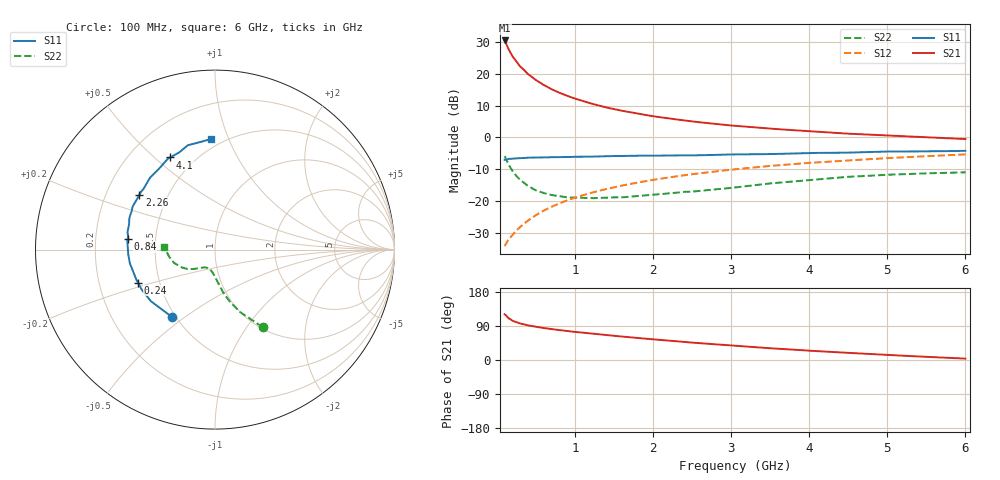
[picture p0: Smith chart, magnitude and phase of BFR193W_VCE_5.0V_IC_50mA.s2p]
! Infineon Technologies  Discrete & RF Semiconductors
! BFR193W
! VCE =  5.0 V,  IC =  50 mA
! Common Emitter S-Parameters:  Nov 2015
# GHz  S  MA  R  50
!  f  S11  S21  S12  S22
! GHz  MAG  ANG  MAG  ANG  MAG  ANG  MAG  ANG
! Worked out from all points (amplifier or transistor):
!   192 points, 100 MHz to 6 GHz, reference 50 ohm
!   highest |S21| = 30.6 dB at 100 MHz (marker M1)
!   |S21| within 3 dB of that: start of sweep to 155.7 MHz
!   unconditionally stable (mu >= 1): 557.4 MHz to 2.59 GHz
!   at 440 MHz: K = 0.97, MSG = 22.4 dB, |S12| = -25.5 dB
!   at 1.7 GHz: K = 1.02, MAG = 10.4 dB, |S12| = -14.7 dB
!   at 6 GHz: K = 0.92, MSG = 2.4 dB, |S12| = -5.3 dB
!   S11 on the Smith chart (normalised r, x): 100 MHz: 0.48, -0.45; 240 MHz: 0.38, -0.18; 840 MHz: 0.34, +0.05; 2.26 GHz: 0.35, +0.29; 4.1 GHz: 0.37, +0.56; 6 GHz: 0.43, +0.86
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0.1  0.4454 -122.7  33.93 120.6  0.0193 60.9  0.5078 -58.4
0.15  0.4586 -141.1  24.66 110.2  0.0245 62.0  0.3743 -68.2
0.2  0.4651 -151.4  19.18 103.7  0.0288 64.4  0.298 -74.3
0.24  0.4677 -156.9  16.33 100.5  0.033 65.7  0.2564 -77.9
0.26  0.469 -159.2  15.13 98.9  0.035 66.4  0.2398 -79.5
0.3  0.4704 -163.3  13.18 96.2  0.0388 67.8  0.2143 -81.7
0.4  0.4804 -170.7  9.988 91.3  0.0489 70.4  0.1708 -86.8
0.5  0.4836 -175.7  8.051 87.6  0.0594 71.5  0.1467 -90.7
0.6  0.4853 -179.7  6.743 84.4  0.0701 72.2  0.1328 -95.0
0.7  0.4878 177.1  5.78 81.5  0.0805 72.6  0.1236 -97.7
0.84  0.4904 172.9  4.863 78.0  0.0953 72.4  0.1168 -101.9
1  0.4969 168.8  4.107 74.1  0.1123 71.9  0.1125 -105.6
1.1  0.4972 166.3  3.776 72.2  0.1226 71.4  0.1112 -108.6
1.2  0.4985 163.9  3.449 70.0  0.133 71.0  0.1102 -111.6
1.5  0.5102 158.0  2.8 63.9  0.1636 69.2  0.1139 -118.2
1.8  0.5178 152.4  2.377 58.2  0.1943 67.1  0.1192 -123.4
2.08  0.5178 146.8  2.097 53.2  0.2223 64.9  0.1275 -127.0
2.26  0.5202 144.0  1.955 50.1  0.24 63.5  0.1332 -128.9
3.1  0.5409 130.7  1.511 37.0  0.3192 56.3  0.1656 -139.3
4.1  0.5711 115.9  1.233 23.5  0.4047 47.5  0.2179 -154.7
5.1  0.6007 103.4  1.063 12.3  0.4796 39.0  0.2607 -172.5
6  0.616 92.3  0.945 3.7  0.5412 31.5  0.2821 177.4
